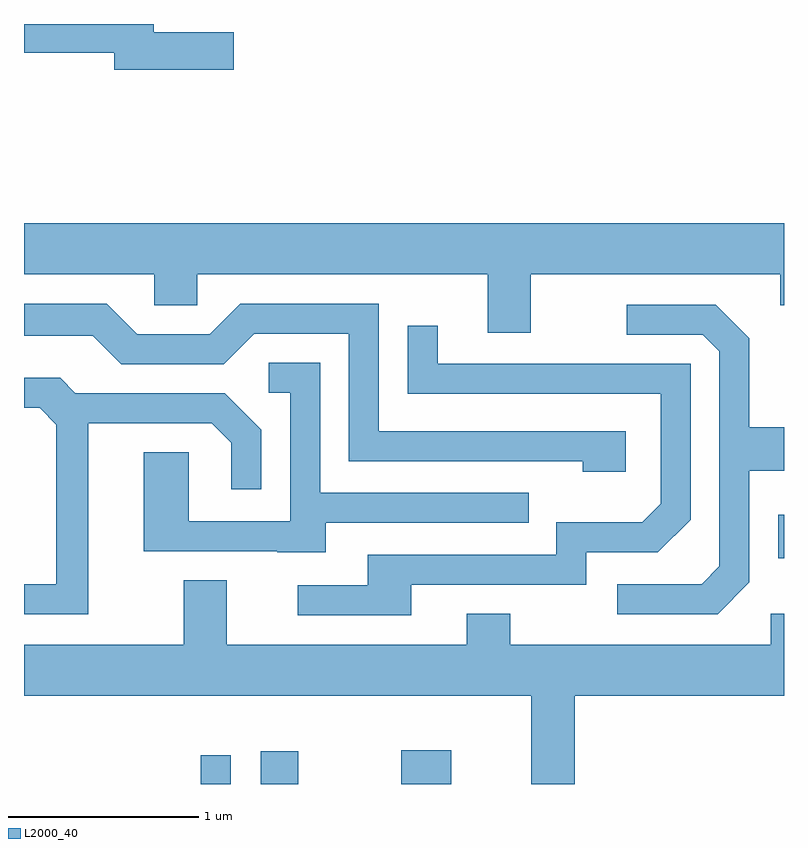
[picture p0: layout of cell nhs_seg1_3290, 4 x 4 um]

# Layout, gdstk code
import gdstk
lib = gdstk.Library(unit=1e-6, precision=1e-09)
def R(c, l, rs):  # rectangles x0, y0, x1, y1
    for r in rs: c.add(gdstk.rectangle(r[:2], r[2:], *l))
def P(c, l, *ps):  # polygons
    for p in ps: c.add(gdstk.Polygon(p, *l))
L2000_40 = (2000, 40)

nhs_seg1_3290 = lib.new_cell('nhs_seg1_3290')
R(nhs_seg1_3290, L2000_40, [(284.541,965.712,284.699,965.863), (284.856,965.712,285.054,965.884), (285.596,965.712,285.859,965.889), (287.581,966.901,287.611,967.129)])
P(nhs_seg1_3290, L2000_40, [(284.714,969.669),(284.294,969.669),(284.294,969.712),(283.611,969.712),(283.611,969.561),(284.086,969.561),(284.086,969.471),(284.714,969.471)],
  [(286.279,968.396),(287.591,968.396),(287.591,968.231),(287.611,968.231),(287.611,968.664),(283.611,968.664),(283.611,968.396),(284.296,968.396),(284.296,968.231),(284.524,968.231),(284.524,968.396),(286.051,968.396),(286.051,968.086),(286.279,968.086)],
  [(286.779,967.569),(285.479,967.569),(285.479,968.239),(284.749,968.239),(284.589,968.079),(284.207,968.079),(284.047,968.239),(283.611,968.239),(283.611,968.071),(283.974,968.071),(284.124,967.921),(284.662,967.921),(284.822,968.081),(285.321,968.081),(285.321,967.411),(286.551,967.411),(286.551,967.356),(286.779,967.356)],
  [(287.429,966.774),(287.429,967.361),(287.611,967.361),(287.611,967.589),(287.429,967.589),(287.429,968.057),(287.252,968.234),(286.783,968.234),(286.783,968.076),(287.184,968.076),(287.271,967.989),(287.271,966.857),(287.179,966.764),(286.733,966.764),(286.733,966.606),(287.262,966.606)],
  [(285.649,966.761),(286.569,966.761),(286.569,966.931),(286.947,966.931),(287.119,967.104),(287.119,967.924),(285.789,967.924),(285.789,968.123),(285.631,968.123),(285.631,967.766),(286.961,967.766),(286.961,967.187),(286.864,967.089),(286.411,967.089),(286.411,966.919),(285.421,966.919),(285.421,966.759),(285.053,966.759),(285.053,966.601),(285.649,966.601)],
  [(285.199,967.086),(286.268,967.086),(286.268,967.244),(285.169,967.244),(285.169,967.929),(284.898,967.929),(284.898,967.771),(285.011,967.771),(285.011,967.094),(284.479,967.094),(284.479,967.459),(284.241,967.459),(284.241,966.936),(284.945,966.936),(284.945,966.931),(285.199,966.931)],
  [(283.949,967.611),(284.599,967.611),(284.701,967.509),(284.701,967.263),(284.859,967.263),(284.859,967.577),(284.667,967.769),(283.882,967.769),(283.802,967.849),(283.611,967.849),(283.611,967.691),(283.694,967.691),(283.781,967.604),(283.781,966.764),(283.611,966.764),(283.611,966.606),(283.949,966.606)],
  [(286.169,966.609),(285.941,966.609),(285.941,966.444),(284.679,966.444),(284.679,966.784),(284.451,966.784),(284.451,966.444),(283.611,966.444),(283.611,966.176),(286.281,966.176),(286.281,965.712),(286.509,965.712),(286.509,966.176),(287.611,966.176),(287.611,966.609),(287.541,966.609),(287.541,966.444),(286.169,966.444)])

lib.write_gds('nhs_seg1_3290.gds')
